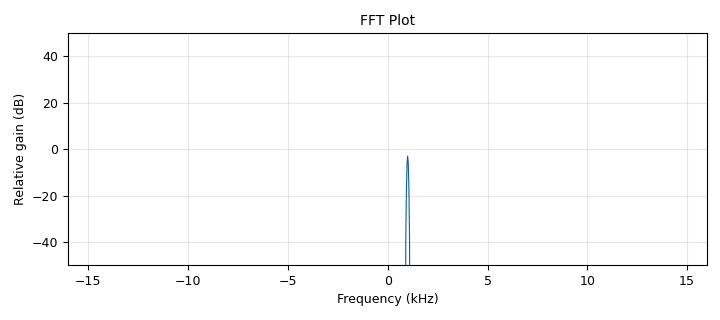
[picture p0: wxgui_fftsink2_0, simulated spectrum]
<?xml version='1.0' encoding='utf-8'?>
<flow_graph>
<block>
<key>options</key>
<param><key>id</key><value>variable_config_demo</value></param>
<param><key>title</key><value>Variable Config Block Demonstration</value></param>
<param><key>author</key><value>Example</value></param>
<param><key>description</key><value>Save/Load freq from a config file.</value></param>
<param><key>generate_options</key><value>wx_gui</value></param>
<param><key>category</key><value>Custom</value></param>
</block>
<block>
<key>variable</key>
<param><key>id</key><value>samp_rate</value></param>
<param><key>value</key><value>32000</value></param>
</block>
<block>
<key>variable_config</key>
<param><key>id</key><value>freq_init</value></param>
<param><key>value</key><value>1000</value></param>
<param><key>type</key><value>real</value></param>
<param><key>config_file</key><value>config.conf</value></param>
<param><key>section</key><value>main</value></param>
<param><key>option</key><value>freq</value></param>
<param><key>writeback</key><value>freq</value></param>
</block>
<block>
<key>variable_slider</key>
<param><key>id</key><value>freq</value></param>
<param><key>label</key><value>Frequency (Hz)</value></param>
<param><key>value</key><value>freq_init</value></param>
<param><key>min</key><value>-samp_rate/2</value></param>
<param><key>max</key><value>samp_rate/2</value></param>
<param><key>num_steps</key><value>100</value></param>
<param><key>style</key><value>wx.SL_HORIZONTAL</value></param>
<param><key>converver</key><value>float_converter</value></param>
</block>
<block>
<key>wxgui_fftsink2</key>
<param><key>id</key><value>wxgui_fftsink2_0</value></param>
<param><key>type</key><value>complex</value></param>
<param><key>title</key><value>FFT Plot</value></param>
<param><key>samp_rate</key><value>samp_rate</value></param>
<param><key>baseband_freq</key><value>0</value></param>
<param><key>y_per_div</key><value>10</value></param>
<param><key>y_divs</key><value>10</value></param>
<param><key>ref_level</key><value>50</value></param>
<param><key>ref_scale</key><value>2.0</value></param>
<param><key>fft_size</key><value>1024</value></param>
<param><key>fft_rate</key><value>30</value></param>
<param><key>peak_hold</key><value>False</value></param>
<param><key>average</key><value>False</value></param>
<param><key>avg_alpha</key><value>0</value></param>
<param><key>win</key><value>None</value></param>
<param><key>freqvar</key><value>None</value></param>
</block>
<block>
<key>gr_throttle</key>
<param><key>id</key><value>gr_throttle_0</value></param>
<param><key>type</key><value>complex</value></param>
<param><key>samples_per_second</key><value>samp_rate</value></param>
<param><key>vlen</key><value>1</value></param>
</block>
<block>
<key>analog_sig_source_x</key>
<param><key>id</key><value>analog_sig_source_x_0</value></param>
<param><key>type</key><value>complex</value></param>
<param><key>samp_rate</key><value>samp_rate</value></param>
<param><key>waveform</key><value>analog.GR_COS_WAVE</value></param>
<param><key>freq</key><value>freq</value></param>
<param><key>amp</key><value>1</value></param>
<param><key>offset</key><value>0</value></param>
</block>
<connection><source_block_id>gr_throttle_0</source_block_id><sink_block_id>wxgui_fftsink2_0</sink_block_id><source_key>0</source_key><sink_key>0</sink_key></connection>
<connection><source_block_id>analog_sig_source_x_0</source_block_id><sink_block_id>gr_throttle_0</sink_block_id><source_key>0</source_key><sink_key>0</sink_key></connection>
</flow_graph>
